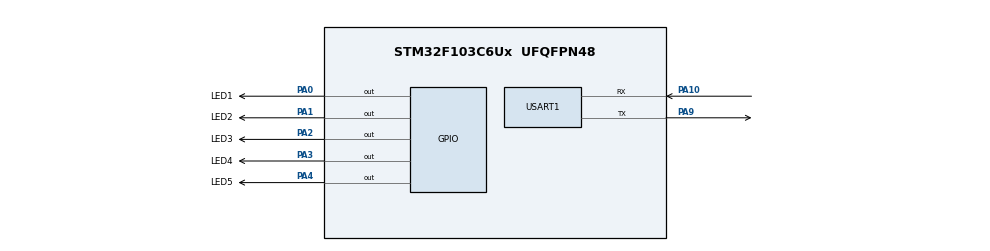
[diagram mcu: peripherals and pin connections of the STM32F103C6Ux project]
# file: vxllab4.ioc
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Mcu.Family=STM32F1
Mcu.Name=STM32F103C6Ux
Mcu.Package=UFQFPN48
NVIC.PriorityGroup=NVIC_PRIORITYGROUP_4
NVIC.TIM2_IRQn=true\:0\:0\:false\:false\:true\:true\:true
PA0-WKUP.GPIO_Label=LED1
PA0-WKUP.Signal=GPIO_Output
PA1.GPIO_Label=LED2
PA1.Signal=GPIO_Output
PA10.Mode=Asynchronous
PA10.Signal=USART1_RX
PA2.GPIO_Label=LED3
PA2.Signal=GPIO_Output
PA3.GPIO_Label=LED4
PA3.Signal=GPIO_Output
PA4.GPIO_Label=LED5
PA4.Signal=GPIO_Output
PA9.Mode=Asynchronous
PA9.Signal=USART1_TX
ProjectManager.HeapSize=0x200
ProjectManager.StackSize=0x400
ProjectManager.TargetToolchain=STM32CubeIDE
RCC.APB1Freq_Value=8000000
RCC.APB2Freq_Value=8000000
TIM2.Period=9
TIM2.Prescaler=7999
USART1.VirtualMode=VM_ASYNC
VP_SYS_VS_ND.Mode=No_Debug
VP_TIM2_VS_ClockSourceINT.Mode=Internal
board=custom

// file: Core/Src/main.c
/* USER CODE BEGIN Header */
/**
  ******************************************************************************
  * @file           : main.c
  * @brief          : Main program body
  ******************************************************************************
  */
/* USER CODE END Header */
#include "main.h"

/* USER CODE BEGIN Includes */
#include "scheduler.h"
#include <stdio.h>
#include <string.h>
/* USER CODE END Includes */

TIM_HandleTypeDef htim2;

UART_HandleTypeDef huart1;

/* USER CODE BEGIN PV */
//#define DEMO_MODE 1
//#define DEMO_MODE 2
//#define DEMO_MODE 3
//#define DEMO_MODE 4
#define DEMO_MODE 5

static uint32_t id_to_delete = 0;
/* USER CODE END PV */

void SystemClock_Config(void);
static void MX_GPIO_Init(void);
static void MX_TIM2_Init(void);
static void MX_USART1_UART_Init(void);
/* USER CODE BEGIN PFP */
void Task1(void);  void Task2(void);  void Task3(void);
void Task4(void);  void Task5(void);
void Task_Print10ms(void);
void Task_OneShot(void);
void Task_100ms(void);
void Task_500ms(void);
void Task_A(void);  void Task_B(void);  void Task_C(void);
void Task_Victim(void);
void Task_Killer(void);
static void print_time(const char *name);
/* USER CODE END PFP */

int main(void)
{

  /* MCU Configuration--------------------------------------------------------*/

  /* Reset of all peripherals, Initializes the Flash interface and the Systick. */
  HAL_Init();

  /* Configure the system clock */
  SystemClock_Config();

  /* Initialize all configured peripherals */
  MX_GPIO_Init();
  MX_TIM2_Init();
  MX_USART1_UART_Init();
  /* USER CODE BEGIN 2 */
  SCH_Init();

#if DEMO_MODE == 1
  // Demo 1: tick 10 ms, callback mỗi 10 ms in get_time()
  SCH_Add_Task(Task_Print10ms, 10, 10);

#elif DEMO_MODE == 2
  // Demo 2: nhiều timeout đồng thời
  SCH_Add_Task(Task_Print10ms, 10, 10);
  SCH_Add_Task(Task_100ms,     100, 100);
  SCH_Add_Task(Task_500ms,     500, 500);

#elif DEMO_MODE == 3
  // Demo 3: add lộn xộn thứ tự, kết quả phải đúng thứ tự thời gian
  SCH_Add_Task(Task_A, 3000, 0);
  SCH_Add_Task(Task_B, 1000, 0);
  SCH_Add_Task(Task_C, 2000, 0);

#elif DEMO_MODE == 4
  // Demo 4: xóa task
  id_to_delete = SCH_Add_Task(Task_Victim, 100, 100);
  SCH_Add_Task(Task_Killer, 1000, 0);

#elif DEMO_MODE == 5
  // Demo 5: bài chính
  SCH_Add_Task(Task1, 0,  500);
  SCH_Add_Task(Task2, 20, 1000);
  SCH_Add_Task(Task3, 40, 1500);
  SCH_Add_Task(Task4, 60, 2000);
  SCH_Add_Task(Task5, 80, 2500);
  SCH_Add_Task(Task_OneShot, 3000, 0);
#endif

  HAL_TIM_Base_Start_IT(&htim2);   // bật tick SAU khi đã add task
  /* USER CODE END 2 */

  /* Infinite loop */
  while (1)
  {
    SCH_Dispatch_Tasks();
  }
}

void SystemClock_Config(void)
{
  RCC_OscInitTypeDef RCC_OscInitStruct = {0};
  RCC_ClkInitTypeDef RCC_ClkInitStruct = {0};

  /** Initializes the RCC Oscillators according to the specified parameters
  * in the RCC_OscInitTypeDef structure.
  */
  RCC_OscInitStruct.OscillatorType = RCC_OSCILLATORTYPE_HSI;
  RCC_OscInitStruct.HSIState = RCC_HSI_ON;
  RCC_OscInitStruct.HSICalibrationValue = RCC_HSICALIBRATION_DEFAULT;
  RCC_OscInitStruct.PLL.PLLState = RCC_PLL_NONE;
  if (HAL_RCC_OscConfig(&RCC_OscInitStruct) != HAL_OK)
  {
    Error_Handler();
  }
  /** Initializes the CPU, AHB and APB buses clocks
  */
  RCC_ClkInitStruct.ClockType = RCC_CLOCKTYPE_HCLK|RCC_CLOCKTYPE_SYSCLK
                              |RCC_CLOCKTYPE_PCLK1|RCC_CLOCKTYPE_PCLK2;
  RCC_ClkInitStruct.SYSCLKSource = RCC_SYSCLKSOURCE_HSI;
  RCC_ClkInitStruct.AHBCLKDivider = RCC_SYSCLK_DIV1;
  RCC_ClkInitStruct.APB1CLKDivider = RCC_HCLK_DIV1;
  RCC_ClkInitStruct.APB2CLKDivider = RCC_HCLK_DIV1;

  if (HAL_RCC_ClockConfig(&RCC_ClkInitStruct, FLASH_LATENCY_0) != HAL_OK)
  {
    Error_Handler();
  }
}

static void MX_TIM2_Init(void)
{

  TIM_ClockConfigTypeDef sClockSourceConfig = {0};
  TIM_MasterConfigTypeDef sMasterConfig = {0};

  htim2.Instance = TIM2;
  htim2.Init.Prescaler = 7999;
  htim2.Init.CounterMode = TIM_COUNTERMODE_UP;
  htim2.Init.Period = 9;
  htim2.Init.ClockDivision = TIM_CLOCKDIVISION_DIV1;
  htim2.Init.AutoReloadPreload = TIM_AUTORELOAD_PRELOAD_DISABLE;
  if (HAL_TIM_Base_Init(&htim2) != HAL_OK)
  {
    Error_Handler();
  }
  sClockSourceConfig.ClockSource = TIM_CLOCKSOURCE_INTERNAL;
  if (HAL_TIM_ConfigClockSource(&htim2, &sClockSourceConfig) != HAL_OK)
  {
    Error_Handler();
  }
  sMasterConfig.MasterOutputTrigger = TIM_TRGO_RESET;
  sMasterConfig.MasterSlaveMode = TIM_MASTERSLAVEMODE_DISABLE;
  if (HAL_TIMEx_MasterConfigSynchronization(&htim2, &sMasterConfig) != HAL_OK)
  {
    Error_Handler();
  }

}

static void MX_USART1_UART_Init(void)
{

  huart1.Instance = USART1;
  huart1.Init.BaudRate = 115200;
  huart1.Init.WordLength = UART_WORDLENGTH_8B;
  huart1.Init.StopBits = UART_STOPBITS_1;
  huart1.Init.Parity = UART_PARITY_NONE;
  huart1.Init.Mode = UART_MODE_TX_RX;
  huart1.Init.HwFlowCtl = UART_HWCONTROL_NONE;
  huart1.Init.OverSampling = UART_OVERSAMPLING_16;
  if (HAL_UART_Init(&huart1) != HAL_OK)
  {
    Error_Handler();
  }

}

static void MX_GPIO_Init(void)
{
  GPIO_InitTypeDef GPIO_InitStruct = {0};

  /* GPIO Ports Clock Enable */
  __HAL_RCC_GPIOA_CLK_ENABLE();

  /*Configure GPIO pin Output Level */
  HAL_GPIO_WritePin(GPIOA, LED1_Pin|LED2_Pin|LED3_Pin|LED4_Pin
                          |LED5_Pin, GPIO_PIN_RESET);

  /*Configure GPIO pins : LED1_Pin LED2_Pin LED3_Pin LED4_Pin
                           LED5_Pin */
  GPIO_InitStruct.Pin = LED1_Pin|LED2_Pin|LED3_Pin|LED4_Pin
                          |LED5_Pin;
  GPIO_InitStruct.Mode = GPIO_MODE_OUTPUT_PP;
  GPIO_InitStruct.Pull = GPIO_NOPULL;
  GPIO_InitStruct.Speed = GPIO_SPEED_FREQ_LOW;
  HAL_GPIO_Init(GPIOA, &GPIO_InitStruct);

}

/* USER CODE BEGIN 4 */
void HAL_TIM_PeriodElapsedCallback(TIM_HandleTypeDef *htim)
{
  if (htim->Instance == TIM2) {
    SCH_Update();
  }
}

static void print_time(const char *name)
{
  char buf[64];
  int n = snprintf(buf, sizeof(buf), "%s t=%lu ms\r\n",
                   name, (unsigned long)get_time());
  if (n > (int)sizeof(buf)) n = sizeof(buf);
  HAL_UART_Transmit(&huart1, (uint8_t*)buf, n, 50);
}

/* ---- Demo 5: bài chính ---- */
void Task1(void) { HAL_GPIO_TogglePin(LED1_GPIO_Port, LED1_Pin); print_time("T1 0.5s"); }
void Task2(void) { HAL_GPIO_TogglePin(LED2_GPIO_Port, LED2_Pin); print_time("T2 1.0s"); }
void Task3(void) { HAL_GPIO_TogglePin(LED3_GPIO_Port, LED3_Pin); print_time("T3 1.5s"); }
void Task4(void) { HAL_GPIO_TogglePin(LED4_GPIO_Port, LED4_Pin); print_time("T4 2.0s"); }
void Task5(void) { HAL_GPIO_TogglePin(LED5_GPIO_Port, LED5_Pin); print_time("T5 2.5s"); }
void Task_OneShot(void) { print_time("ONE-SHOT"); }

/* ---- Demo 1, 2 ---- */
void Task_Print10ms(void) { print_time("10ms"); }
void Task_100ms(void)     { print_time("   100ms"); }
void Task_500ms(void)     { print_time("      500ms"); }

/* ---- Demo 3 ---- */
void Task_A(void) { print_time("A (add dau tien, delay 3000)"); }
void Task_B(void) { print_time("B (add thu hai,  delay 1000)"); }
void Task_C(void) { print_time("C (add thu ba,   delay 2000)"); }

/* ---- Demo 4 ---- */
void Task_Victim(void) { print_time("Victim"); }
void Task_Killer(void) {
  uint8_t r1 = SCH_Delete_Task(id_to_delete);   // lần 1: xóa thành công (=1)
  uint8_t r2 = SCH_Delete_Task(id_to_delete);   // lần 2: ID không còn (=0)
  char buf[64];
  int n = snprintf(buf, sizeof(buf), "DELETE: lan1=%u lan2=%u t=%lu\r\n",
                   r1, r2, (unsigned long)get_time());
  if (n > (int)sizeof(buf)) n = sizeof(buf);
  HAL_UART_Transmit(&huart1, (uint8_t*)buf, n, 50);
}
/* USER CODE END 4 */

void Error_Handler(void)
{
  __disable_irq();
  while (1)
  {
  }
}
